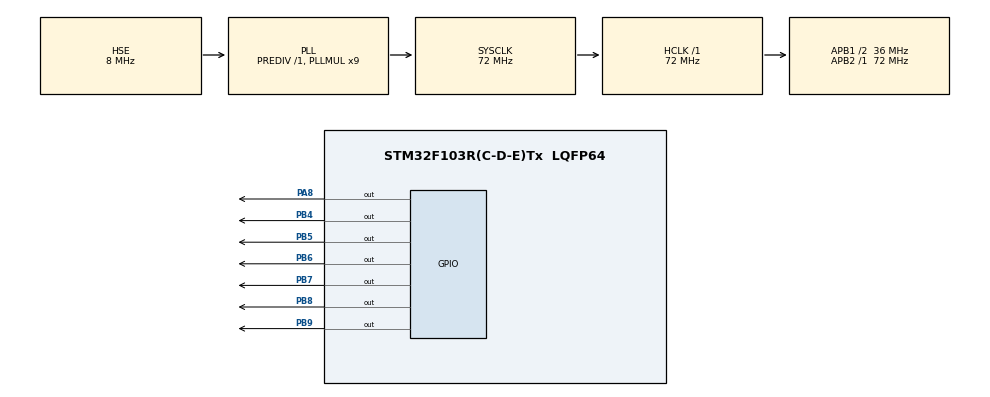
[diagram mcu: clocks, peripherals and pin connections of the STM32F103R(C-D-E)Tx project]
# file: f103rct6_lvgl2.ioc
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Mcu.Family=STM32F1
Mcu.Name=STM32F103R(C-D-E)Tx
Mcu.Package=LQFP64
NVIC.PriorityGroup=NVIC_PRIORITYGROUP_4
NVIC.TIM6_IRQn=true\:0\:0\:false\:false\:true\:true\:true\:true
PA13.Mode=Serial_Wire
PA13.Signal=SYS_JTMS-SWDIO
PA14.Mode=Serial_Wire
PA14.Signal=SYS_JTCK-SWCLK
PA8.GPIO_PuPd=GPIO_PULLUP
PA8.GPIO_Speed=GPIO_SPEED_FREQ_HIGH
PA8.Signal=GPIO_Output
PB4.GPIO_Speed=GPIO_SPEED_FREQ_HIGH
PB4.Signal=GPIO_Output
PB5.GPIO_Speed=GPIO_SPEED_FREQ_HIGH
PB5.Signal=GPIO_Output
PB6.GPIO_Speed=GPIO_SPEED_FREQ_HIGH
PB6.Signal=GPIO_Output
PB7.GPIO_Speed=GPIO_SPEED_FREQ_HIGH
PB7.Signal=GPIO_Output
PB8.GPIO_Speed=GPIO_SPEED_FREQ_HIGH
PB8.Signal=GPIO_Output
PB9.GPIO_Speed=GPIO_SPEED_FREQ_HIGH
PB9.Signal=GPIO_Output
PC14-OSC32_IN.Mode=LSE-External-Oscillator
PC14-OSC32_IN.Signal=RCC_OSC32_IN
PC15-OSC32_OUT.Mode=LSE-External-Oscillator
PC15-OSC32_OUT.Signal=RCC_OSC32_OUT
PD0-OSC_IN.Mode=HSE-External-Oscillator
PD0-OSC_IN.Signal=RCC_OSC_IN
PD1-OSC_OUT.Mode=HSE-External-Oscillator
PD1-OSC_OUT.Signal=RCC_OSC_OUT
ProjectManager.HeapSize=0x2000
ProjectManager.StackSize=0x2000
ProjectManager.TargetToolchain=MDK-ARM V5.32
RCC.AHBFreq_Value=72000000
RCC.APB1CLKDivider=RCC_HCLK_DIV2
RCC.APB1Freq_Value=36000000
RCC.APB1TimFreq_Value=72000000
RCC.APB2Freq_Value=72000000
RCC.APB2TimFreq_Value=72000000
RCC.HCLKFreq_Value=72000000
RCC.PLLMUL=RCC_PLL_MUL9
RCC.PLLSourceVirtual=RCC_PLLSOURCE_HSE
RCC.SYSCLKFreq_VALUE=72000000
RCC.SYSCLKSource=RCC_SYSCLKSOURCE_PLLCLK
RCC.USBFreq_Value=72000000
TIM6.AutoReloadPreload=TIM_AUTORELOAD_PRELOAD_ENABLE
TIM6.Period=1000-1
TIM6.Prescaler=72-1
VP_TIM6_VS_ClockSourceINT.Mode=Enable_Timer
board=custom

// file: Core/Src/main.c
/* USER CODE BEGIN Header */
/**
  ******************************************************************************
  * @file           : main.c
  * @brief          : Main program body
  ******************************************************************************
  * @attention
  *
  * Copyright (c) 2024 STMicroelectronics.
  * All rights reserved.
  *
  * This software is licensed under terms that can be found in the LICENSE file
  * in the root directory of this software component.
  * If no LICENSE file comes with this software, it is provided AS-IS.
  *
  ******************************************************************************
  */
/* USER CODE END Header */
#include "main.h"
#include "tim.h"
#include "gpio.h"

/* USER CODE BEGIN Includes */
#include "lcd_init.h"
#include "lcd.h"
#include "lvgl.h"
#include "lv_port_disp_template.h"
#include "lv_port_indev_template.h"
#include "ui.h"
/* USER CODE END Includes */

void SystemClock_Config(void);

int main(void)
{

  /* MCU Configuration--------------------------------------------------------*/

  /* Reset of all peripherals, Initializes the Flash interface and the Systick. */
  HAL_Init();

  /* Configure the system clock */
  SystemClock_Config();

  /* Initialize all configured peripherals */
  MX_GPIO_Init();
  MX_TIM6_Init();
  /* USER CODE BEGIN 2 */
  LCD_Init();
  LCD_Fill(0,0,LCD_W,LCD_H,WHITE);

  lv_init();
  lv_port_disp_init();
	//lv_port_indev_init();
  HAL_TIM_Base_Start_IT(&htim6);

  create_ui_static();
  create_ui_dynamic();
  /* USER CODE END 2 */

  /* Infinite loop */
  while (1)
  {
    /* USER CODE BEGIN 3 */
    HAL_Delay(5);
    lv_timer_handler();
  }
  /* USER CODE END 3 */
}

void SystemClock_Config(void)
{
  RCC_OscInitTypeDef RCC_OscInitStruct = {0};
  RCC_ClkInitTypeDef RCC_ClkInitStruct = {0};

  /** Initializes the RCC Oscillators according to the specified parameters
  * in the RCC_OscInitTypeDef structure.
  */
  RCC_OscInitStruct.OscillatorType = RCC_OSCILLATORTYPE_HSE;
  RCC_OscInitStruct.HSEState = RCC_HSE_ON;
  RCC_OscInitStruct.HSEPredivValue = RCC_HSE_PREDIV_DIV1;
  RCC_OscInitStruct.HSIState = RCC_HSI_ON;
  RCC_OscInitStruct.PLL.PLLState = RCC_PLL_ON;
  RCC_OscInitStruct.PLL.PLLSource = RCC_PLLSOURCE_HSE;
  RCC_OscInitStruct.PLL.PLLMUL = RCC_PLL_MUL9;
  if (HAL_RCC_OscConfig(&RCC_OscInitStruct) != HAL_OK)
  {
    Error_Handler();
  }

  /** Initializes the CPU, AHB and APB buses clocks
  */
  RCC_ClkInitStruct.ClockType = RCC_CLOCKTYPE_HCLK|RCC_CLOCKTYPE_SYSCLK
                              |RCC_CLOCKTYPE_PCLK1|RCC_CLOCKTYPE_PCLK2;
  RCC_ClkInitStruct.SYSCLKSource = RCC_SYSCLKSOURCE_PLLCLK;
  RCC_ClkInitStruct.AHBCLKDivider = RCC_SYSCLK_DIV1;
  RCC_ClkInitStruct.APB1CLKDivider = RCC_HCLK_DIV2;
  RCC_ClkInitStruct.APB2CLKDivider = RCC_HCLK_DIV1;

  if (HAL_RCC_ClockConfig(&RCC_ClkInitStruct, FLASH_LATENCY_2) != HAL_OK)
  {
    Error_Handler();
  }
}

/* USER CODE BEGIN 4 */
void HAL_TIM_PeriodElapsedCallback(TIM_HandleTypeDef *htim)
{
  if (htim->Instance == TIM6)
  {
    lv_tick_inc(1);
  }
}
/* USER CODE END 4 */

void Error_Handler(void)
{
  __disable_irq();
  while (1)
  {
  }
}
